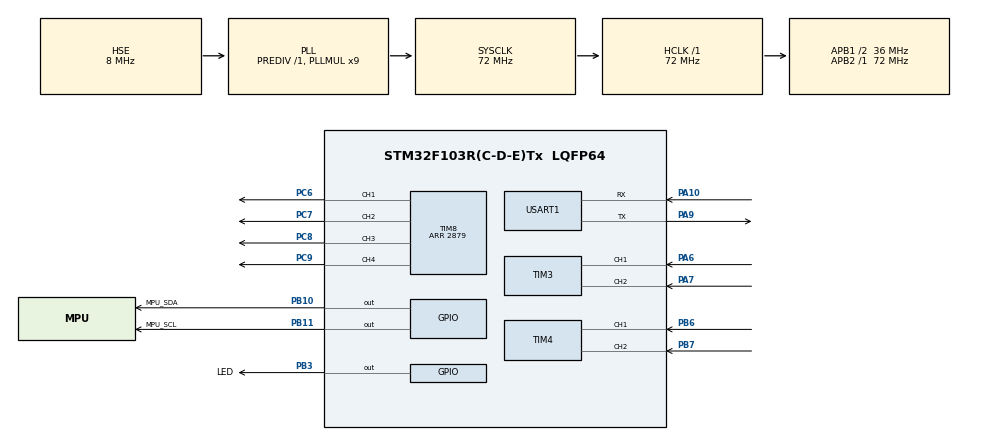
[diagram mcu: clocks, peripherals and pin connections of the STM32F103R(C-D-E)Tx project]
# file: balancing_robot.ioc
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Mcu.Family=STM32F1
Mcu.Name=STM32F103R(C-D-E)Tx
Mcu.Package=LQFP64
NVIC.PriorityGroup=NVIC_PRIORITYGROUP_4
NVIC.TIM6_IRQn=true\:0\:0\:false\:false\:true\:true\:true\:true
PA10.Mode=Asynchronous
PA10.Signal=USART1_RX
PA13.Mode=Serial_Wire
PA13.Signal=SYS_JTMS-SWDIO
PA14.Mode=Serial_Wire
PA14.Signal=SYS_JTCK-SWCLK
PA6.Signal=S_TIM3_CH1
PA7.Signal=S_TIM3_CH2
PA9.Mode=Asynchronous
PA9.Signal=USART1_TX
PB10.GPIO_Label=MPU_SDA
PB10.GPIO_ModeDefaultOutputPP=GPIO_MODE_OUTPUT_OD
PB10.GPIO_PuPd=GPIO_NOPULL
PB10.GPIO_Speed=GPIO_SPEED_FREQ_HIGH
PB10.PinState=GPIO_PIN_SET
PB10.Signal=GPIO_Output
PB11.GPIO_Label=MPU_SCL
PB11.GPIO_Speed=GPIO_SPEED_FREQ_HIGH
PB11.PinState=GPIO_PIN_SET
PB11.Signal=GPIO_Output
PB3.GPIO_Label=LED
PB3.GPIO_Speed=GPIO_SPEED_FREQ_LOW
PB3.Signal=GPIO_Output
PB6.Signal=S_TIM4_CH1
PB7.Signal=S_TIM4_CH2
PC6.Signal=S_TIM8_CH1
PC7.Signal=S_TIM8_CH2
PC8.Signal=S_TIM8_CH3
PC9.Signal=S_TIM8_CH4
PD0-OSC_IN.Mode=HSE-External-Oscillator
PD0-OSC_IN.Signal=RCC_OSC_IN
PD1-OSC_OUT.Mode=HSE-External-Oscillator
PD1-OSC_OUT.Signal=RCC_OSC_OUT
ProjectManager.HeapSize=0x200
ProjectManager.StackSize=0x400
ProjectManager.TargetToolchain=STM32CubeIDE
RCC.AHBFreq_Value=72000000
RCC.APB1CLKDivider=RCC_HCLK_DIV2
RCC.APB1Freq_Value=36000000
RCC.APB1TimFreq_Value=72000000
RCC.APB2Freq_Value=72000000
RCC.APB2TimFreq_Value=72000000
RCC.HCLKFreq_Value=72000000
RCC.PLLMUL=RCC_PLL_MUL9
RCC.PLLSourceVirtual=RCC_PLLSOURCE_HSE
RCC.SYSCLKFreq_VALUE=72000000
RCC.SYSCLKSource=RCC_SYSCLKSOURCE_PLLCLK
RCC.USBFreq_Value=72000000
SH.S_TIM3_CH1.0=TIM3_CH1,Encoder_Interface
SH.S_TIM3_CH2.0=TIM3_CH2,Encoder_Interface
SH.S_TIM4_CH1.0=TIM4_CH1,Encoder_Interface
SH.S_TIM4_CH2.0=TIM4_CH2,Encoder_Interface
SH.S_TIM8_CH1.0=TIM8_CH1,PWM Generation1 CH1
SH.S_TIM8_CH2.0=TIM8_CH2,PWM Generation2 CH2
SH.S_TIM8_CH3.0=TIM8_CH3,PWM Generation3 CH3
SH.S_TIM8_CH4.0=TIM8_CH4,PWM Generation4 CH4
TIM3.EncoderMode=TIM_ENCODERMODE_TI12
TIM3.IC1Filter=10
TIM3.IC2Filter=10
TIM4.EncoderMode=TIM_ENCODERMODE_TI12
TIM4.IC1Filter=10
TIM4.IC2Filter=10
TIM6.Period=49
TIM6.Prescaler=7199
TIM8.Channel-PWM\ Generation1\ CH1=TIM_CHANNEL_1
TIM8.Channel-PWM\ Generation2\ CH2=TIM_CHANNEL_2
TIM8.Channel-PWM\ Generation3\ CH3=TIM_CHANNEL_3
TIM8.Channel-PWM\ Generation4\ CH4=TIM_CHANNEL_4
TIM8.Period=2879
USART1.VirtualMode=VM_ASYNC
VP_TIM6_VS_ClockSourceINT.Mode=Enable_Timer
VP_TIM8_VS_ClockSourceINT.Mode=Internal
board=custom

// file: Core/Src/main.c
/* USER CODE BEGIN Header */
/**
  ******************************************************************************
  * @file           : main.c
  * @brief          : Main program body
  ******************************************************************************
  * @attention
  *
  * Copyright (c) 2026 STMicroelectronics.
  * All rights reserved.
  *
  * This software is licensed under terms that can be found in the LICENSE file
  * in the root directory of this software component.
  * If no LICENSE file comes with this software, it is provided AS-IS.
  *
  ******************************************************************************
  */
/* USER CODE END Header */
#include "main.h"

/* USER CODE BEGIN Includes */
#include <stdio.h>
#include "mpu6050.h"
#include "attitude.h"
#include "pid.h"
#include "motor.h"
/* USER CODE END Includes */

/* USER CODE BEGIN PD */
#define TARGET_ANGLE 0.0f
/* USER CODE END PD */

TIM_HandleTypeDef htim3;
TIM_HandleTypeDef htim4;
TIM_HandleTypeDef htim6;
TIM_HandleTypeDef htim8;

UART_HandleTypeDef huart1;

/* USER CODE BEGIN PV */
int16_t currentLeftEncoderCnt = 0;
int16_t currentRightEncoderCnt = 0;
int16_t prevLeftEncoderCnt = 0;
int16_t prevRightEncoderCnt = 0;
volatile int16_t changeLeftEncoderCnt = 0;
volatile int16_t changeRightEncoderCnt = 0;
float leftRPM = 0.0f;
float rightRPM = 0.0f;
volatile uint8_t imu_flag = 0;

/* USER CODE END PV */

void SystemClock_Config(void);
static void MX_GPIO_Init(void);
static void MX_USART1_UART_Init(void);
static void MX_TIM6_Init(void);
static void MX_TIM3_Init(void);
static void MX_TIM4_Init(void);
static void MX_TIM8_Init(void);

/* USER CODE BEGIN 0 */
int _write(int file, char *ptr, int len){
    HAL_UART_Transmit(&huart1, (uint8_t *)ptr, len, 100);
    return len;
}

void HAL_TIM_PeriodElapsedCallback(TIM_HandleTypeDef *htim)
{
		if (htim->Instance == TIM6)
		{
				currentLeftEncoderCnt = __HAL_TIM_GET_COUNTER(&htim3);
				currentRightEncoderCnt = __HAL_TIM_GET_COUNTER(&htim4);

				changeLeftEncoderCnt = currentLeftEncoderCnt - prevLeftEncoderCnt;
				changeRightEncoderCnt = -(currentRightEncoderCnt - prevRightEncoderCnt);

				leftRPM = changeLeftEncoderCnt / 1320.0f * 6000;
				rightRPM = changeRightEncoderCnt / 1320.0f * 6000;

				prevLeftEncoderCnt = currentLeftEncoderCnt;
				prevRightEncoderCnt = currentRightEncoderCnt;

		        imu_flag = 1;
			}
		}

/* USER CODE END 0 */

int main(void)
{

  /* MCU Configuration--------------------------------------------------------*/

  /* Reset of all peripherals, Initializes the Flash interface and the Systick. */
  HAL_Init();

  /* Configure the system clock */
  SystemClock_Config();

  /* Initialize all configured peripherals */
  MX_GPIO_Init();
  MX_USART1_UART_Init();
  MX_TIM6_Init();
  MX_TIM3_Init();
  MX_TIM4_Init();
  MX_TIM8_Init();
  /* USER CODE BEGIN 2 */

  HAL_TIM_Encoder_Start(&htim3, TIM_CHANNEL_ALL);
  HAL_TIM_Encoder_Start(&htim4, TIM_CHANNEL_ALL);

  prevLeftEncoderCnt = __HAL_TIM_GET_COUNTER(&htim3);
  prevRightEncoderCnt = __HAL_TIM_GET_COUNTER(&htim4);

  HAL_TIM_Base_Start_IT(&htim6);

  // 모터 PWM ?��?��
  HAL_TIM_PWM_Start(&htim8, TIM_CHANNEL_1);
  HAL_TIM_PWM_Start(&htim8, TIM_CHANNEL_2);
  HAL_TIM_PWM_Start(&htim8, TIM_CHANNEL_3);
  HAL_TIM_PWM_Start(&htim8, TIM_CHANNEL_4);

  HAL_Delay(500);  // ?��?�� ?��?�� ?��?��?�� ??�????

  MPU6050_WriteReg(0x6B, 0x00); // ?��?�� ?��?��

  HAL_Delay(2000);
  MPU6050_WriteReg(0x1B, 0x00);  // 기존 ±250°/s
  MPU6050_WriteReg(0x1C, 0x00);

  float gyro_bias = MPU6050_CalibrateGyroX();
  printf("MAIN BIAS = %.2f\r\n", gyro_bias);

  float angle = 0.0f;
  uint8_t angle_initialized = 0;
  uint32_t print_count = 0;
//  Motor_Set(1500, 1500);
  /* USER CODE END 2 */

  /* Infinite loop */
  /* USER CODE BEGIN WHILE */
  while (1)
  {

	  // ?��?��
	    if (imu_flag)
	    {
	        imu_flag = 0;

	        uint8_t imu_buffer[14] = {0};

	        // MPU6050 ?��?��?�� 14바이?�� ?���???
	        MPU6050_ReadBytes(0x3B, imu_buffer, 14);

	        // ?��?�� RAW ?��?��?�� 추출
	        int16_t accel_x =
	            (int16_t)((imu_buffer[0] << 8) | imu_buffer[1]);

	        int16_t accel_y =
	            (int16_t)((imu_buffer[2] << 8) | imu_buffer[3]);

	        int16_t accel_z =
	            (int16_t)((imu_buffer[4] << 8) | imu_buffer[5]);

	        int16_t gyro_x =
	            (int16_t)((imu_buffer[8] << 8) | imu_buffer[9]);

	        // 각도 �??? 각속?�� 계산
	        float accel_angle =
	            Attitude_GetAccelAngle(accel_y, accel_z);

	        float gyro_rate =
	            Attitude_GetGyroRate(gyro_x, gyro_bias);

	        if (angle_initialized == 0)
	        {
	            angle = accel_angle;
	            angle_initialized = 1;
	        }
	        else
	        {
	            angle = Attitude_ComplementaryFilter(
	                angle,
	                gyro_rate,
	                accel_angle,
					0.005f
	            );

	            float p_control = PID_P(TARGET_ANGLE, angle, 96.0f);
	            float d_control = PID_D(gyro_rate, 0.48f * 131.0f);

	            float pd_output = p_control + d_control;

	            if (angle > 30.0f || angle < -20.0f)
	            {
	                Motor_Set(0, 0);
	            }
	            else
	            {
	            	if(pd_output > 0){
	            		pd_output += 1300;
	            		if(pd_output > 2600){
	            			pd_output = 2600;
	            		}
	            	} else if(pd_output < 0){
	            		pd_output -= 1300;
	            		if(pd_output < -2600){
	            			pd_output = -2600;
	            		}
	            	}
	            	if (++print_count >= 20)
	            	{
	            	    printf("ACC: %.2f | GYRO: %.2f | ANGLE: %.2f | P: %.2f | D: %.2f | PWM: %.0f\r\n",
	            	           accel_angle,
	            	           gyro_rate,
	            	           angle,
	            	           p_control,
	            	           d_control,
	            	           pd_output);

	            	    print_count = 0;
	            	}
	                Motor_Set((int)pd_output, (int)pd_output);
	            }

	        }

	    }
	    // 종료

    /* USER CODE END WHILE */

  }
}

void SystemClock_Config(void)
{
  RCC_OscInitTypeDef RCC_OscInitStruct = {0};
  RCC_ClkInitTypeDef RCC_ClkInitStruct = {0};

  /** Initializes the RCC Oscillators according to the specified parameters
  * in the RCC_OscInitTypeDef structure.
  */
  RCC_OscInitStruct.OscillatorType = RCC_OSCILLATORTYPE_HSE;
  RCC_OscInitStruct.HSEState = RCC_HSE_ON;
  RCC_OscInitStruct.HSEPredivValue = RCC_HSE_PREDIV_DIV1;
  RCC_OscInitStruct.HSIState = RCC_HSI_ON;
  RCC_OscInitStruct.PLL.PLLState = RCC_PLL_ON;
  RCC_OscInitStruct.PLL.PLLSource = RCC_PLLSOURCE_HSE;
  RCC_OscInitStruct.PLL.PLLMUL = RCC_PLL_MUL9;
  if (HAL_RCC_OscConfig(&RCC_OscInitStruct) != HAL_OK)
  {
    Error_Handler();
  }

  /** Initializes the CPU, AHB and APB buses clocks
  */
  RCC_ClkInitStruct.ClockType = RCC_CLOCKTYPE_HCLK|RCC_CLOCKTYPE_SYSCLK
                              |RCC_CLOCKTYPE_PCLK1|RCC_CLOCKTYPE_PCLK2;
  RCC_ClkInitStruct.SYSCLKSource = RCC_SYSCLKSOURCE_PLLCLK;
  RCC_ClkInitStruct.AHBCLKDivider = RCC_SYSCLK_DIV1;
  RCC_ClkInitStruct.APB1CLKDivider = RCC_HCLK_DIV2;
  RCC_ClkInitStruct.APB2CLKDivider = RCC_HCLK_DIV1;

  if (HAL_RCC_ClockConfig(&RCC_ClkInitStruct, FLASH_LATENCY_2) != HAL_OK)
  {
    Error_Handler();
  }
}

static void MX_TIM3_Init(void)
{

  TIM_Encoder_InitTypeDef sConfig = {0};
  TIM_MasterConfigTypeDef sMasterConfig = {0};

  htim3.Instance = TIM3;
  htim3.Init.Prescaler = 0;
  htim3.Init.CounterMode = TIM_COUNTERMODE_UP;
  htim3.Init.Period = 65535;
  htim3.Init.ClockDivision = TIM_CLOCKDIVISION_DIV1;
  htim3.Init.AutoReloadPreload = TIM_AUTORELOAD_PRELOAD_DISABLE;
  sConfig.EncoderMode = TIM_ENCODERMODE_TI12;
  sConfig.IC1Polarity = TIM_ICPOLARITY_RISING;
  sConfig.IC1Selection = TIM_ICSELECTION_DIRECTTI;
  sConfig.IC1Prescaler = TIM_ICPSC_DIV1;
  sConfig.IC1Filter = 10;
  sConfig.IC2Polarity = TIM_ICPOLARITY_RISING;
  sConfig.IC2Selection = TIM_ICSELECTION_DIRECTTI;
  sConfig.IC2Prescaler = TIM_ICPSC_DIV1;
  sConfig.IC2Filter = 10;
  if (HAL_TIM_Encoder_Init(&htim3, &sConfig) != HAL_OK)
  {
    Error_Handler();
  }
  sMasterConfig.MasterOutputTrigger = TIM_TRGO_RESET;
  sMasterConfig.MasterSlaveMode = TIM_MASTERSLAVEMODE_DISABLE;
  if (HAL_TIMEx_MasterConfigSynchronization(&htim3, &sMasterConfig) != HAL_OK)
  {
    Error_Handler();
  }

}

static void MX_TIM4_Init(void)
{

  TIM_Encoder_InitTypeDef sConfig = {0};
  TIM_MasterConfigTypeDef sMasterConfig = {0};

  htim4.Instance = TIM4;
  htim4.Init.Prescaler = 0;
  htim4.Init.CounterMode = TIM_COUNTERMODE_UP;
  htim4.Init.Period = 65535;
  htim4.Init.ClockDivision = TIM_CLOCKDIVISION_DIV1;
  htim4.Init.AutoReloadPreload = TIM_AUTORELOAD_PRELOAD_DISABLE;
  sConfig.EncoderMode = TIM_ENCODERMODE_TI12;
  sConfig.IC1Polarity = TIM_ICPOLARITY_RISING;
  sConfig.IC1Selection = TIM_ICSELECTION_DIRECTTI;
  sConfig.IC1Prescaler = TIM_ICPSC_DIV1;
  sConfig.IC1Filter = 10;
  sConfig.IC2Polarity = TIM_ICPOLARITY_RISING;
  sConfig.IC2Selection = TIM_ICSELECTION_DIRECTTI;
  sConfig.IC2Prescaler = TIM_ICPSC_DIV1;
  sConfig.IC2Filter = 10;
  if (HAL_TIM_Encoder_Init(&htim4, &sConfig) != HAL_OK)
  {
    Error_Handler();
  }
  sMasterConfig.MasterOutputTrigger = TIM_TRGO_RESET;
  sMasterConfig.MasterSlaveMode = TIM_MASTERSLAVEMODE_DISABLE;
  if (HAL_TIMEx_MasterConfigSynchronization(&htim4, &sMasterConfig) != HAL_OK)
  {
    Error_Handler();
  }

}

static void MX_TIM6_Init(void)
{

  TIM_MasterConfigTypeDef sMasterConfig = {0};

  htim6.Instance = TIM6;
  htim6.Init.Prescaler = 7199;
  htim6.Init.CounterMode = TIM_COUNTERMODE_UP;
  htim6.Init.Period = 49;
  htim6.Init.AutoReloadPreload = TIM_AUTORELOAD_PRELOAD_DISABLE;
  if (HAL_TIM_Base_Init(&htim6) != HAL_OK)
  {
    Error_Handler();
  }
  sMasterConfig.MasterOutputTrigger = TIM_TRGO_RESET;
  sMasterConfig.MasterSlaveMode = TIM_MASTERSLAVEMODE_DISABLE;
  if (HAL_TIMEx_MasterConfigSynchronization(&htim6, &sMasterConfig) != HAL_OK)
  {
    Error_Handler();
  }

}

static void MX_TIM8_Init(void)
{

  TIM_ClockConfigTypeDef sClockSourceConfig = {0};
  TIM_MasterConfigTypeDef sMasterConfig = {0};
  TIM_OC_InitTypeDef sConfigOC = {0};
  TIM_BreakDeadTimeConfigTypeDef sBreakDeadTimeConfig = {0};

  htim8.Instance = TIM8;
  htim8.Init.Prescaler = 0;
  htim8.Init.CounterMode = TIM_COUNTERMODE_UP;
  htim8.Init.Period = 2879;
  htim8.Init.ClockDivision = TIM_CLOCKDIVISION_DIV1;
  htim8.Init.RepetitionCounter = 0;
  htim8.Init.AutoReloadPreload = TIM_AUTORELOAD_PRELOAD_DISABLE;
  if (HAL_TIM_Base_Init(&htim8) != HAL_OK)
  {
    Error_Handler();
  }
  sClockSourceConfig.ClockSource = TIM_CLOCKSOURCE_INTERNAL;
  if (HAL_TIM_ConfigClockSource(&htim8, &sClockSourceConfig) != HAL_OK)
  {
    Error_Handler();
  }
  if (HAL_TIM_PWM_Init(&htim8) != HAL_OK)
  {
    Error_Handler();
  }
  sMasterConfig.MasterOutputTrigger = TIM_TRGO_RESET;
  sMasterConfig.MasterSlaveMode = TIM_MASTERSLAVEMODE_DISABLE;
  if (HAL_TIMEx_MasterConfigSynchronization(&htim8, &sMasterConfig) != HAL_OK)
  {
    Error_Handler();
  }
  sConfigOC.OCMode = TIM_OCMODE_PWM1;
  sConfigOC.Pulse = 0;
  sConfigOC.OCPolarity = TIM_OCPOLARITY_HIGH;
  sConfigOC.OCNPolarity = TIM_OCNPOLARITY_HIGH;
  sConfigOC.OCFastMode = TIM_OCFAST_DISABLE;
  sConfigOC.OCIdleState = TIM_OCIDLESTATE_RESET;
  sConfigOC.OCNIdleState = TIM_OCNIDLESTATE_RESET;
  if (HAL_TIM_PWM_ConfigChannel(&htim8, &sConfigOC, TIM_CHANNEL_1) != HAL_OK)
  {
    Error_Handler();
  }
  if (HAL_TIM_PWM_ConfigChannel(&htim8, &sConfigOC, TIM_CHANNEL_2) != HAL_OK)
  {
    Error_Handler();
  }
  if (HAL_TIM_PWM_ConfigChannel(&htim8, &sConfigOC, TIM_CHANNEL_3) != HAL_OK)
  {
    Error_Handler();
  }
  if (HAL_TIM_PWM_ConfigChannel(&htim8, &sConfigOC, TIM_CHANNEL_4) != HAL_OK)
  {
    Error_Handler();
  }
  sBreakDeadTimeConfig.OffStateRunMode = TIM_OSSR_DISABLE;
  sBreakDeadTimeConfig.OffStateIDLEMode = TIM_OSSI_DISABLE;
  sBreakDeadTimeConfig.LockLevel = TIM_LOCKLEVEL_OFF;
  sBreakDeadTimeConfig.DeadTime = 0;
  sBreakDeadTimeConfig.BreakState = TIM_BREAK_DISABLE;
  sBreakDeadTimeConfig.BreakPolarity = TIM_BREAKPOLARITY_HIGH;
  sBreakDeadTimeConfig.AutomaticOutput = TIM_AUTOMATICOUTPUT_DISABLE;
  if (HAL_TIMEx_ConfigBreakDeadTime(&htim8, &sBreakDeadTimeConfig) != HAL_OK)
  {
    Error_Handler();
  }
  HAL_TIM_MspPostInit(&htim8);

}

static void MX_USART1_UART_Init(void)
{

  huart1.Instance = USART1;
  huart1.Init.BaudRate = 115200;
  huart1.Init.WordLength = UART_WORDLENGTH_8B;
  huart1.Init.StopBits = UART_STOPBITS_1;
  huart1.Init.Parity = UART_PARITY_NONE;
  huart1.Init.Mode = UART_MODE_TX_RX;
  huart1.Init.HwFlowCtl = UART_HWCONTROL_NONE;
  huart1.Init.OverSampling = UART_OVERSAMPLING_16;
  if (HAL_UART_Init(&huart1) != HAL_OK)
  {
    Error_Handler();
  }

}

static void MX_GPIO_Init(void)
{
  GPIO_InitTypeDef GPIO_InitStruct = {0};

  /* GPIO Ports Clock Enable */
  __HAL_RCC_GPIOD_CLK_ENABLE();
  __HAL_RCC_GPIOA_CLK_ENABLE();
  __HAL_RCC_GPIOB_CLK_ENABLE();
  __HAL_RCC_GPIOC_CLK_ENABLE();

  /*Configure GPIO pin Output Level */
  HAL_GPIO_WritePin(GPIOB, MPU_SDA_Pin|MPU_SCL_Pin, GPIO_PIN_SET);

  /*Configure GPIO pin Output Level */
  HAL_GPIO_WritePin(LED_GPIO_Port, LED_Pin, GPIO_PIN_RESET);

  /*Configure GPIO pin : MPU_SDA_Pin */
  GPIO_InitStruct.Pin = MPU_SDA_Pin;
  GPIO_InitStruct.Mode = GPIO_MODE_OUTPUT_OD;
  GPIO_InitStruct.Pull = GPIO_NOPULL;
  GPIO_InitStruct.Speed = GPIO_SPEED_FREQ_HIGH;
  HAL_GPIO_Init(MPU_SDA_GPIO_Port, &GPIO_InitStruct);

  /*Configure GPIO pin : MPU_SCL_Pin */
  GPIO_InitStruct.Pin = MPU_SCL_Pin;
  GPIO_InitStruct.Mode = GPIO_MODE_OUTPUT_PP;
  GPIO_InitStruct.Pull = GPIO_NOPULL;
  GPIO_InitStruct.Speed = GPIO_SPEED_FREQ_HIGH;
  HAL_GPIO_Init(MPU_SCL_GPIO_Port, &GPIO_InitStruct);

  /*Configure GPIO pin : LED_Pin */
  GPIO_InitStruct.Pin = LED_Pin;
  GPIO_InitStruct.Mode = GPIO_MODE_OUTPUT_PP;
  GPIO_InitStruct.Pull = GPIO_NOPULL;
  GPIO_InitStruct.Speed = GPIO_SPEED_FREQ_LOW;
  HAL_GPIO_Init(LED_GPIO_Port, &GPIO_InitStruct);

}

void Error_Handler(void)
{
  __disable_irq();
  while (1)
  {
  }
}
